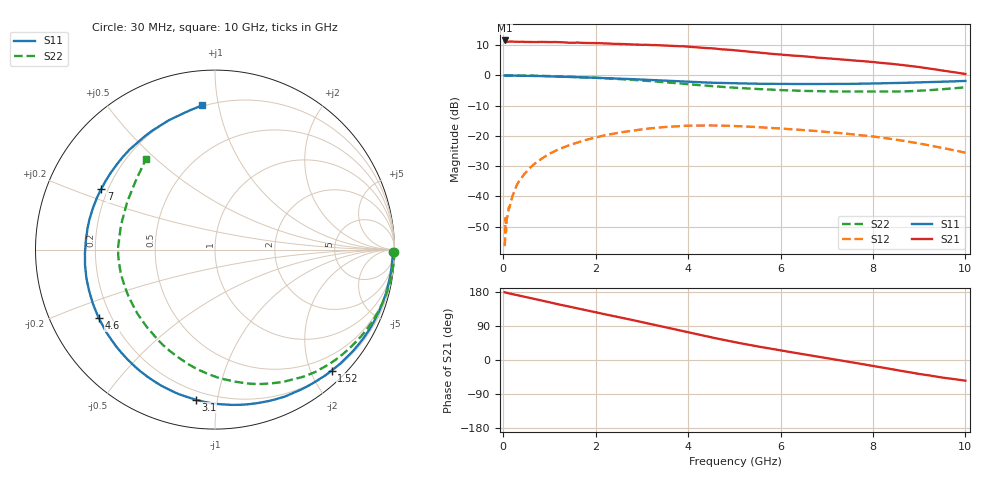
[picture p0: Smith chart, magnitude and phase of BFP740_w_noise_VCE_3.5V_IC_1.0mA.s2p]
! Infineon Technologies  Discrete & RF Semiconductors
! BFP740
! VCE =  3.5 V,  IC =  1.0 mA
! Common Emitter S-Parameters:  Jan 2016
# GHz  S  MA  R  50
!  f  S11  S21  S12  S22
! GHz  MAG  ANG  MAG  ANG  MAG  ANG  MAG  ANG
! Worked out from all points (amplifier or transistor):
!   229 points, 30 MHz to 10 GHz, reference 50 ohm
!   highest |S21| = 11.5 dB at 30 MHz (marker M1)
!   |S21| within 3 dB of that: start of sweep to 4.804 GHz
!   unconditionally stable (mu >= 1): 8.843 GHz to end of sweep
!   at 280 MHz: K = 0.04, MSG = 23.9 dB, |S12| = -36.8 dB
!   at 1.78 GHz: K = 0.15, MSG = 16.1 dB, |S12| = -21.4 dB
!   at 10 GHz: K = 1.39, MAG = 9.3 dB, |S12| = -25.6 dB
!   lowest NFmin = 0.50 dB at 450 MHz
!   S11 on the Smith chart (normalised r, x): 30 MHz: open; 1.52 GHz: 0.21, -2.33; 3.1 GHz: 0.15, -0.87; 4.6 GHz: 0.15, -0.27; 7 GHz: 0.17, +0.24; 10 GHz: 0.19, +0.90
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0.03  0.9897 -0.9  3.77 178.6  0.0015 93.0  0.9994 -0.7
0.04  0.9904 -1.2  3.562 178.3  0.0019 88.7  0.9994 -0.8
0.05  0.9922 -1.4  3.563 178.4  0.0044 81.7  0.9992 -1.1
0.06  0.9905 -1.8  3.573 177.7  0.0026 68.3  0.9969 -1.2
0.07  0.9906 -2.1  3.565 177.6  0.004 104.5  0.9994 -1.5
0.12  0.9891 -3.6  3.608 176.0  0.0065 85.2  0.9992 -2.5
0.34  0.9858 -10.2  3.574 170.2  0.0176 82.0  0.9951 -7.2
0.82  0.9715 -24.8  3.57 157.3  0.0415 70.9  0.9807 -17.2
1.52  0.9361 -46.1  3.458 138.5  0.074 54.5  0.9428 -31.9
1.7  0.9263 -51.7  3.438 133.7  0.0815 50.4  0.9307 -35.7
2.3  0.8943 -70.9  3.347 118.1  0.1054 36.8  0.8873 -48.7
3.1  0.8431 -97.3  3.203 97.3  0.1306 19.0  0.8118 -66.4
3.4  0.8222 -107.6  3.136 89.3  0.1376 12.2  0.7799 -73.6
3.9  0.788 -125.3  3.018 75.8  0.1461 0.6  0.7244 -85.9
4.6  0.7517 -149.4  2.76 57.3  0.1481 -15.1  0.6564 -102.9
5.1  0.7353 -164.8  2.551 45.0  0.1443 -25.0  0.6183 -114.1
6  0.7195 172.7  2.21 25.3  0.132 -40.2  0.5702 -133.4
6.8  0.7185 156.1  1.963 9.0  0.1196 -52.0  0.5472 -152.2
7  0.7183 152.0  1.912 4.9  0.116 -54.6  0.5435 -157.1
8.4  0.7428 121.8  1.549 -24.2  0.0886 -72.2  0.5391 167.8
9  0.7651 109.7  1.371 -36.9  0.0747 -78.0  0.5574 151.0
10  0.807 95.1  1.054 -54.6  0.0526 -79.7  0.6348 127.1
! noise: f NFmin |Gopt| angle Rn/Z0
0.45  0.5  0.62  13  0.41
0.9  0.58  0.64  21  0.39
1.5  0.71  0.61  32  0.38
1.9  0.76  0.58  45  0.37
2.4  0.81  0.58  52  0.35
3.5  0.96  0.55  78  0.32
5.5  1.37  0.4  148  0.29
10  2.28  0.63  -92  0.39
